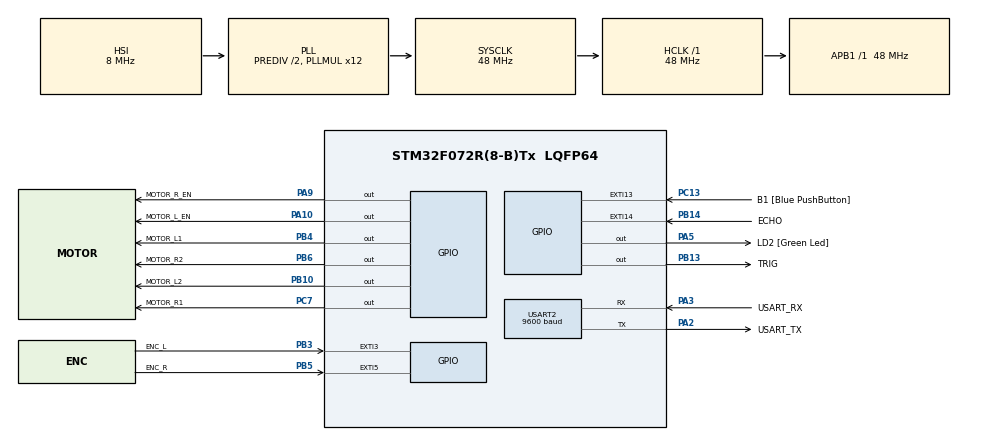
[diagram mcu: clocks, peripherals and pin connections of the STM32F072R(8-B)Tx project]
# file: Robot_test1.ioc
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FREERTOS.Mutexes01=UART_Mutex,Dynamic,NULL;distance_mutex,Dynamic,NULL
FREERTOS.Tasks01=defaultTask,0,128,StartDefaultTask,Default,NULL,Dynamic,NULL,NULL;motor_control,-3,128,Start_motor_control,Default,NULL,Dynamic,NULL,NULL;HCSR04,3,128,StartTaskHCSR04,Default,NULL,Dynamic,NULL,NULL
Mcu.Family=STM32F0
Mcu.Name=STM32F072R(8-B)Tx
Mcu.Package=LQFP64
NVIC.EXTI2_3_IRQn=true\:3\:0\:false\:false\:true\:true\:true
NVIC.EXTI4_15_IRQn=true\:3\:0\:false\:false\:true\:true\:true
NVIC.TIM1_BRK_UP_TRG_COM_IRQn=true\:0\:0\:false\:false\:true\:false\:true
NVIC.TIM2_IRQn=true\:3\:0\:false\:false\:true\:true\:true
NVIC.TimeBase=TIM1_BRK_UP_TRG_COM_IRQn
NVIC.TimeBaseIP=TIM1
NVIC.USART2_IRQn=true\:0\:0\:false\:false\:true\:false\:true
PA10.GPIO_Label=MOTOR_L_EN
PA10.Signal=GPIO_Output
PA13.GPIO_Label=TMS
PA13.Mode=Serial_Wire
PA13.Signal=SYS_SWDIO
PA14.GPIO_Label=TCK
PA14.Mode=Serial_Wire
PA14.Signal=SYS_SWCLK
PA2.GPIO_Label=USART_TX
PA2.GPIO_Mode=GPIO_MODE_AF_PP
PA2.GPIO_PuPd=GPIO_NOPULL
PA2.GPIO_Speed=GPIO_SPEED_FREQ_LOW
PA2.Mode=Asynchronous
PA2.Signal=USART2_TX
PA3.GPIO_Label=USART_RX
PA3.GPIO_Mode=GPIO_MODE_AF_PP
PA3.GPIO_PuPd=GPIO_NOPULL
PA3.GPIO_Speed=GPIO_SPEED_FREQ_LOW
PA3.Mode=Asynchronous
PA3.Signal=USART2_RX
PA5.GPIO_Label=LD2 [Green Led]
PA5.GPIO_Mode=GPIO_MODE_OUTPUT_PP
PA5.GPIO_PuPd=GPIO_NOPULL
PA5.GPIO_Speed=GPIO_SPEED_FREQ_LOW
PA5.Signal=GPIO_Output
PA9.GPIO_Label=MOTOR_R_EN
PA9.Signal=GPIO_Output
PB10.GPIO_Label=MOTOR_L2
PB10.Signal=GPIO_Output
PB13.GPIO_Label=TRIG
PB13.Signal=GPIO_Output
PB14.GPIO_Label=ECHO
PB14.GPIO_ModeDefaultEXTI=GPIO_MODE_IT_RISING_FALLING
PB14.Signal=GPXTI14
PB3.GPIO_Label=ENC_L
PB3.GPIO_ModeDefaultEXTI=GPIO_MODE_IT_RISING_FALLING
PB3.Signal=GPXTI3
PB4.GPIO_Label=MOTOR_L1
PB4.Signal=GPIO_Output
PB5.GPIO_Label=ENC_R
PB5.GPIO_ModeDefaultEXTI=GPIO_MODE_IT_RISING_FALLING
PB5.Signal=GPXTI5
PB6.GPIO_Label=MOTOR_R2
PB6.Signal=GPIO_Output
PC13.GPIO_Label=B1 [Blue PushButton]
PC13.GPIO_ModeDefaultEXTI=GPIO_MODE_IT_FALLING
PC13.Signal=GPXTI13
PC7.GPIO_Label=MOTOR_R1
PC7.Signal=GPIO_Output
ProjectManager.HeapSize=0x200
ProjectManager.StackSize=0x400
ProjectManager.TargetToolchain=MDK-ARM V5
RCC.AHBFreq_Value=48000000
RCC.APB1Freq_Value=48000000
RCC.APB1TimFreq_Value=48000000
RCC.FLatency-AdvancedSettings=FLASH_LATENCY_1
RCC.HCLKFreq_Value=48000000
RCC.PLLDivider=RCC_PREDIV_DIV2
RCC.PLLMUL=RCC_PLL_MUL12
RCC.SYSCLKFreq_VALUE=48000000
RCC.SYSCLKSource=RCC_SYSCLKSOURCE_PLLCLK
TIM2.Channel-Output\ Compare1\ No\ Output=TIM_CHANNEL_1
TIM2.Period=4294967295
TIM2.Prescaler=8
TIM2.Pulse-Output\ Compare1\ No\ Output=61
USART2.BaudRate=9600
USART2.VirtualMode-Asynchronous=VM_ASYNC
USART2.WordLength=WORDLENGTH_8B
VP_FREERTOS_VS_ENABLE.Mode=Enabled
VP_SYS_VS_tim1.Mode=TIM1
VP_TIM2_VS_ClockSourceINT.Mode=Internal
VP_TIM2_VS_no_output1.Mode=Output Compare1 No Output
board=NUCLEO-F072RB

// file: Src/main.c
/**
  ******************************************************************************
  * @file           : main.c
  * @brief          : Main program body
  ******************************************************************************
  * This notice applies to any and all portions of this file
  * that are not between comment pairs USER CODE BEGIN and
  * USER CODE END. Other portions of this file, whether
  * inserted by the user or by software development tools
  * are owned by their respective copyright owners.
  *
  * Copyright (c) 2018 STMicroelectronics International N.V.
  * All rights reserved.
  *
  * Redistribution and use in source and binary forms, with or without
  * modification, are permitted, provided that the following conditions are met:
  *
  * 1. Redistribution of source code must retain the above copyright notice,
  *    this list of conditions and the following disclaimer.
  * 2. Redistributions in binary form must reproduce the above copyright notice,
  *    this list of conditions and the following disclaimer in the documentation
  *    and/or other materials provided with the distribution.
  * 3. Neither the name of STMicroelectronics nor the names of other
  *    contributors to this software may be used to endorse or promote products
  *    derived from this software without specific written permission.
  * 4. This software, including modifications and/or derivative works of this
  *    software, must execute solely and exclusively on microcontroller or
  *    microprocessor devices manufactured by or for STMicroelectronics.
  * 5. Redistribution and use of this software other than as permitted under
  *    this license is void and will automatically terminate your rights under
  *    this license.
  *
  * THIS SOFTWARE IS PROVIDED BY STMICROELECTRONICS AND CONTRIBUTORS "AS IS"
  * AND ANY EXPRESS, IMPLIED OR STATUTORY WARRANTIES, INCLUDING, BUT NOT
  * LIMITED TO, THE IMPLIED WARRANTIES OF MERCHANTABILITY, FITNESS FOR A
  * PARTICULAR PURPOSE AND NON-INFRINGEMENT OF THIRD PARTY INTELLECTUAL PROPERTY
  * RIGHTS ARE DISCLAIMED TO THE FULLEST EXTENT PERMITTED BY LAW. IN NO EVENT
  * SHALL STMICROELECTRONICS OR CONTRIBUTORS BE LIABLE FOR ANY DIRECT, INDIRECT,
  * INCIDENTAL, SPECIAL, EXEMPLARY, OR CONSEQUENTIAL DAMAGES (INCLUDING, BUT NOT
  * LIMITED TO, PROCUREMENT OF SUBSTITUTE GOODS OR SERVICES; LOSS OF USE, DATA,
  * OR PROFITS; OR BUSINESS INTERRUPTION) HOWEVER CAUSED AND ON ANY THEORY OF
  * LIABILITY, WHETHER IN CONTRACT, STRICT LIABILITY, OR TORT (INCLUDING
  * NEGLIGENCE OR OTHERWISE) ARISING IN ANY WAY OUT OF THE USE OF THIS SOFTWARE,
  * EVEN IF ADVISED OF THE POSSIBILITY OF SUCH DAMAGE.
  *
  ******************************************************************************
  */
#include "main.h"
#include "stm32f0xx_hal.h"
#include "cmsis_os.h"

/* USER CODE BEGIN Includes */
#include <stdlib.h>
#include <string.h>
#include <stdio.h>
#include "robot_map.h"

#define measure_and_set 1
#define	go_forward 2
#define	forward_moving 3
#define turn_normal_R 4
#define	normal_turning 5
#define	turn_avoid_L 6
/* USER CODE END Includes */

TIM_HandleTypeDef htim2;

UART_HandleTypeDef huart2;

osThreadId emergencyHandle;
osThreadId motor_controlHandle;
osThreadId HCSR04Handle;
osMutexId UART_MutexHandle;
osMutexId distance_mutexHandle;

/* USER CODE BEGIN PV */
/* Private variables ---------------------------------------------------------*/

//PAPUT
char transmitBuffer[32];
uint8_t uart_in[1];
uint8_t enc_L_EN =0;
uint8_t enc_R_EN =0;
uint8_t enc_L_CNT =0;
uint8_t enc_R_CNT =0;
uint32_t i =0;
uint8_t ticks;
uint8_t is_moving = 0;
uint8_t snake_cnt = 0;
uint8_t snake_to_do = 1;
uint8_t corner_cnt = 0;

void go_Forward (void);
void go_TurnLeft (void);
void go_TurnRight (void);

uint8_t SM_state = measure_and_set;

//ADAM
volatile uint32_t hcsr04_rising_edge;
volatile uint32_t hcsr04_falling_edge;
volatile uint8_t hcsr04_generate_trig = 0;
volatile uint8_t hcsr04_wait_for_rising_edge = 0;
volatile uint8_t hcsr04_wait_for_falling_edge = 0;
uint8_t emergency_brake = 0;

//JAREK
int* map = NULL;
int rows = 20;
int columns = 20;

uint16_t distance =100; //current distance to obstacle [cm], locked by mutex
uint16_t distance_temp;

BaseType_t xHigherPriorityTaskWoken;
/* USER CODE END PV */

void SystemClock_Config(void);
static void MX_GPIO_Init(void);
static void MX_USART2_UART_Init(void);
static void MX_TIM2_Init(void);
void Startemergency(void const * argument);
void Start_motor_control(void const * argument);
void StartTaskHCSR04(void const * argument);

/* USER CODE BEGIN PFP */
/* Private function prototypes -----------------------------------------------*/
//extern void initialise_monitor_handles(void);
void HAL_TIM_OC_DelayElapsedCallback(TIM_HandleTypeDef *htim) {

	if (htim->Instance == TIM2 && htim->Channel == HAL_TIM_ACTIVE_CHANNEL_1
			&& hcsr04_generate_trig == 1) {
		if (hcsr04_wait_for_falling_edge == 0) {
			__HAL_TIM_SET_COUNTER(htim, 0);
		}
		hcsr04_generate_trig = 0;
		HAL_GPIO_WritePin(TRIG_GPIO_Port, TRIG_Pin, GPIO_PIN_RESET);
		hcsr04_wait_for_rising_edge = 1;
		//printf("INTERRUPT\n");

	}
}

void HAL_GPIO_EXTI_Callback(uint16_t GPIO_Pin) {
	if (GPIO_Pin == ECHO_Pin) {
		if (HAL_GPIO_ReadPin(ECHO_GPIO_Port, ECHO_Pin) == 1
				&& hcsr04_wait_for_rising_edge) {
			//printf("1\n");
			hcsr04_rising_edge = __HAL_TIM_GET_COUNTER(&htim2);
			hcsr04_wait_for_rising_edge = 0;
			hcsr04_wait_for_falling_edge = 1;

		}
		if (HAL_GPIO_ReadPin(ECHO_GPIO_Port, ECHO_Pin) == 0
				&& hcsr04_wait_for_falling_edge) {
			//printf("0\n");
			hcsr04_falling_edge = __HAL_TIM_GET_COUNTER(&htim2);
			hcsr04_wait_for_falling_edge = 0;
			xHigherPriorityTaskWoken = pdFALSE;

			xTaskNotifyFromISR(HCSR04Handle, 0, eNoAction,
					&xHigherPriorityTaskWoken);
			portYIELD_FROM_ISR(xHigherPriorityTaskWoken);

			}pdFALSE;
		}
		if (GPIO_Pin == GPIO_PIN_3){
			if (enc_L_EN) {
				enc_L_CNT++;
			}
			if (enc_L_CNT>=ticks-1) {
						HAL_GPIO_WritePin(MOTOR_L_EN_GPIO_Port, MOTOR_L_EN_Pin, GPIO_PIN_RESET);
						is_moving ++;
						enc_L_EN=0;
						enc_L_CNT=0;

				}
			if (is_moving==3) is_moving=0;
		}
		if (GPIO_Pin == GPIO_PIN_5){
			if (enc_R_EN) {
				enc_R_CNT++;
			}
			if (enc_R_CNT>=ticks-1) {
						HAL_GPIO_WritePin(MOTOR_R_EN_GPIO_Port, MOTOR_R_EN_Pin, GPIO_PIN_RESET);
						is_moving ++;
						enc_R_EN=0;
						enc_R_CNT=0;

				}
				if (is_moving==3) is_moving=0;
		}
//			//printf("%d\n", res);

}
/* USER CODE END PFP */

int main(void)
{

  /* MCU Configuration----------------------------------------------------------*/

  /* Reset of all peripherals, Initializes the Flash interface and the Systick. */
  HAL_Init();

  /* Configure the system clock */
  SystemClock_Config();

  /* Initialize all configured peripherals */
  MX_GPIO_Init();
  MX_USART2_UART_Init();
  MX_TIM2_Init();
  /* USER CODE BEGIN 2 */
  //PAPUT
  __HAL_UART_ENABLE_IT(&huart2,UART_IT_RXNE);

  //ADAM
  //initialise_monitor_handles();
  	//printf("Hello\n");
  	HAL_TIM_OC_Start_IT(&htim2, TIM_CHANNEL_1);

	//JAREK

	int mapsize = calcAdjustedSize(rows, columns);
//map = (int*)calloc(mapsize, sizeof(int));
	map = allocateMap(rows, columns);
  /* USER CODE END 2 */

  /* Create the mutex(es) */
  /* definition and creation of UART_Mutex */
  osMutexDef(UART_Mutex);
  UART_MutexHandle = osMutexCreate(osMutex(UART_Mutex));

  /* definition and creation of distance_mutex */
  osMutexDef(distance_mutex);
  distance_mutexHandle = osMutexCreate(osMutex(distance_mutex));

  /* Create the thread(s) */
  /* definition and creation of emergency */
  osThreadDef(emergency, Startemergency, osPriorityRealtime, 0, 128);
  emergencyHandle = osThreadCreate(osThread(emergency), NULL);

  /* definition and creation of motor_control */
  osThreadDef(motor_control, Start_motor_control, osPriorityIdle, 0, 128);
  motor_controlHandle = osThreadCreate(osThread(motor_control), NULL);

  /* definition and creation of HCSR04 */
  osThreadDef(HCSR04, StartTaskHCSR04, osPriorityHigh, 0, 128);
  HCSR04Handle = osThreadCreate(osThread(HCSR04), NULL);

  /* Start scheduler */
  osKernelStart();

  /* We should never get here as control is now taken by the scheduler */

  /* Infinite loop */
  while (1)
  {

  }

}

void SystemClock_Config(void)
{

  RCC_OscInitTypeDef RCC_OscInitStruct;
  RCC_ClkInitTypeDef RCC_ClkInitStruct;
  RCC_PeriphCLKInitTypeDef PeriphClkInit;

    /**Initializes the CPU, AHB and APB busses clocks
    */
  RCC_OscInitStruct.OscillatorType = RCC_OSCILLATORTYPE_HSI;
  RCC_OscInitStruct.HSIState = RCC_HSI_ON;
  RCC_OscInitStruct.HSICalibrationValue = 16;
  RCC_OscInitStruct.PLL.PLLState = RCC_PLL_ON;
  RCC_OscInitStruct.PLL.PLLSource = RCC_PLLSOURCE_HSI;
  RCC_OscInitStruct.PLL.PLLMUL = RCC_PLL_MUL12;
  RCC_OscInitStruct.PLL.PREDIV = RCC_PREDIV_DIV2;
  if (HAL_RCC_OscConfig(&RCC_OscInitStruct) != HAL_OK)
  {
    _Error_Handler(__FILE__, __LINE__);
  }

    /**Initializes the CPU, AHB and APB busses clocks
    */
  RCC_ClkInitStruct.ClockType = RCC_CLOCKTYPE_HCLK|RCC_CLOCKTYPE_SYSCLK
                              |RCC_CLOCKTYPE_PCLK1;
  RCC_ClkInitStruct.SYSCLKSource = RCC_SYSCLKSOURCE_PLLCLK;
  RCC_ClkInitStruct.AHBCLKDivider = RCC_SYSCLK_DIV1;
  RCC_ClkInitStruct.APB1CLKDivider = RCC_HCLK_DIV1;

  if (HAL_RCC_ClockConfig(&RCC_ClkInitStruct, FLASH_LATENCY_1) != HAL_OK)
  {
    _Error_Handler(__FILE__, __LINE__);
  }

  PeriphClkInit.PeriphClockSelection = RCC_PERIPHCLK_USART2;
  PeriphClkInit.Usart2ClockSelection = RCC_USART2CLKSOURCE_PCLK1;
  if (HAL_RCCEx_PeriphCLKConfig(&PeriphClkInit) != HAL_OK)
  {
    _Error_Handler(__FILE__, __LINE__);
  }

    /**Configure the Systick interrupt time
    */
  HAL_SYSTICK_Config(HAL_RCC_GetHCLKFreq()/1000);

    /**Configure the Systick
    */
  HAL_SYSTICK_CLKSourceConfig(SYSTICK_CLKSOURCE_HCLK);

  /* SysTick_IRQn interrupt configuration */
  HAL_NVIC_SetPriority(SysTick_IRQn, 3, 0);
}

/* TIM2 init function */
static void MX_TIM2_Init(void)
{

  TIM_ClockConfigTypeDef sClockSourceConfig;
  TIM_MasterConfigTypeDef sMasterConfig;
  TIM_OC_InitTypeDef sConfigOC;

  htim2.Instance = TIM2;
  htim2.Init.Prescaler = 8;
  htim2.Init.CounterMode = TIM_COUNTERMODE_UP;
  htim2.Init.Period = 4294967295;
  htim2.Init.ClockDivision = TIM_CLOCKDIVISION_DIV1;
  htim2.Init.AutoReloadPreload = TIM_AUTORELOAD_PRELOAD_DISABLE;
  if (HAL_TIM_Base_Init(&htim2) != HAL_OK)
  {
    _Error_Handler(__FILE__, __LINE__);
  }

  sClockSourceConfig.ClockSource = TIM_CLOCKSOURCE_INTERNAL;
  if (HAL_TIM_ConfigClockSource(&htim2, &sClockSourceConfig) != HAL_OK)
  {
    _Error_Handler(__FILE__, __LINE__);
  }

  if (HAL_TIM_OC_Init(&htim2) != HAL_OK)
  {
    _Error_Handler(__FILE__, __LINE__);
  }

  sMasterConfig.MasterOutputTrigger = TIM_TRGO_RESET;
  sMasterConfig.MasterSlaveMode = TIM_MASTERSLAVEMODE_DISABLE;
  if (HAL_TIMEx_MasterConfigSynchronization(&htim2, &sMasterConfig) != HAL_OK)
  {
    _Error_Handler(__FILE__, __LINE__);
  }

  sConfigOC.OCMode = TIM_OCMODE_TIMING;
  sConfigOC.Pulse = 61;
  sConfigOC.OCPolarity = TIM_OCPOLARITY_HIGH;
  sConfigOC.OCFastMode = TIM_OCFAST_DISABLE;
  if (HAL_TIM_OC_ConfigChannel(&htim2, &sConfigOC, TIM_CHANNEL_1) != HAL_OK)
  {
    _Error_Handler(__FILE__, __LINE__);
  }

}

/* USART2 init function */
static void MX_USART2_UART_Init(void)
{

  huart2.Instance = USART2;
  huart2.Init.BaudRate = 9600;
  huart2.Init.WordLength = UART_WORDLENGTH_8B;
  huart2.Init.StopBits = UART_STOPBITS_1;
  huart2.Init.Parity = UART_PARITY_NONE;
  huart2.Init.Mode = UART_MODE_TX_RX;
  huart2.Init.HwFlowCtl = UART_HWCONTROL_NONE;
  huart2.Init.OverSampling = UART_OVERSAMPLING_16;
  huart2.Init.OneBitSampling = UART_ONE_BIT_SAMPLE_DISABLE;
  huart2.AdvancedInit.AdvFeatureInit = UART_ADVFEATURE_NO_INIT;
  if (HAL_UART_Init(&huart2) != HAL_OK)
  {
    _Error_Handler(__FILE__, __LINE__);
  }

}

/** Configure pins as
        * Analog
        * Input
        * Output
        * EVENT_OUT
        * EXTI
*/
static void MX_GPIO_Init(void)
{

  GPIO_InitTypeDef GPIO_InitStruct;

  /* GPIO Ports Clock Enable */
  __HAL_RCC_GPIOC_CLK_ENABLE();
  __HAL_RCC_GPIOA_CLK_ENABLE();
  __HAL_RCC_GPIOB_CLK_ENABLE();

  /*Configure GPIO pin Output Level */
  HAL_GPIO_WritePin(GPIOA, LD2_Pin|MOTOR_R_EN_Pin|MOTOR_L_EN_Pin, GPIO_PIN_RESET);

  /*Configure GPIO pin Output Level */
  HAL_GPIO_WritePin(GPIOB, MOTOR_L2_Pin|TRIG_Pin|MOTOR_L1_Pin|MOTOR_R2_Pin, GPIO_PIN_RESET);

  /*Configure GPIO pin Output Level */
  HAL_GPIO_WritePin(MOTOR_R1_GPIO_Port, MOTOR_R1_Pin, GPIO_PIN_RESET);

  /*Configure GPIO pin : B1_Pin */
  GPIO_InitStruct.Pin = B1_Pin;
  GPIO_InitStruct.Mode = GPIO_MODE_IT_FALLING;
  GPIO_InitStruct.Pull = GPIO_NOPULL;
  HAL_GPIO_Init(B1_GPIO_Port, &GPIO_InitStruct);

  /*Configure GPIO pins : LD2_Pin MOTOR_R_EN_Pin MOTOR_L_EN_Pin */
  GPIO_InitStruct.Pin = LD2_Pin|MOTOR_R_EN_Pin|MOTOR_L_EN_Pin;
  GPIO_InitStruct.Mode = GPIO_MODE_OUTPUT_PP;
  GPIO_InitStruct.Pull = GPIO_NOPULL;
  GPIO_InitStruct.Speed = GPIO_SPEED_FREQ_LOW;
  HAL_GPIO_Init(GPIOA, &GPIO_InitStruct);

  /*Configure GPIO pins : MOTOR_L2_Pin TRIG_Pin MOTOR_L1_Pin MOTOR_R2_Pin */
  GPIO_InitStruct.Pin = MOTOR_L2_Pin|TRIG_Pin|MOTOR_L1_Pin|MOTOR_R2_Pin;
  GPIO_InitStruct.Mode = GPIO_MODE_OUTPUT_PP;
  GPIO_InitStruct.Pull = GPIO_NOPULL;
  GPIO_InitStruct.Speed = GPIO_SPEED_FREQ_LOW;
  HAL_GPIO_Init(GPIOB, &GPIO_InitStruct);

  /*Configure GPIO pins : ECHO_Pin ENC_L_Pin ENC_R_Pin */
  GPIO_InitStruct.Pin = ECHO_Pin|ENC_L_Pin|ENC_R_Pin;
  GPIO_InitStruct.Mode = GPIO_MODE_IT_RISING_FALLING;
  GPIO_InitStruct.Pull = GPIO_NOPULL;
  HAL_GPIO_Init(GPIOB, &GPIO_InitStruct);

  /*Configure GPIO pin : MOTOR_R1_Pin */
  GPIO_InitStruct.Pin = MOTOR_R1_Pin;
  GPIO_InitStruct.Mode = GPIO_MODE_OUTPUT_PP;
  GPIO_InitStruct.Pull = GPIO_NOPULL;
  GPIO_InitStruct.Speed = GPIO_SPEED_FREQ_LOW;
  HAL_GPIO_Init(MOTOR_R1_GPIO_Port, &GPIO_InitStruct);

  /* EXTI interrupt init*/
  HAL_NVIC_SetPriority(EXTI2_3_IRQn, 3, 0);
  HAL_NVIC_EnableIRQ(EXTI2_3_IRQn);

  HAL_NVIC_SetPriority(EXTI4_15_IRQn, 3, 0);
  HAL_NVIC_EnableIRQ(EXTI4_15_IRQn);

}

/* USER CODE BEGIN 4 */

void go_Forward (void){

	ticks=50;

		enc_L_CNT=0;
		enc_R_CNT=0;

		HAL_GPIO_WritePin(MOTOR_R1_GPIO_Port, MOTOR_R1_Pin, GPIO_PIN_SET);
		HAL_GPIO_WritePin(MOTOR_R2_GPIO_Port, MOTOR_R2_Pin, GPIO_PIN_RESET);

		HAL_GPIO_WritePin(MOTOR_L1_GPIO_Port, MOTOR_L1_Pin, GPIO_PIN_SET);
		HAL_GPIO_WritePin(MOTOR_L2_GPIO_Port, MOTOR_L2_Pin, GPIO_PIN_RESET);
		enc_L_EN=1;
		enc_R_EN=1;
	if (distance>25){
		is_moving = 1;

		HAL_GPIO_WritePin(MOTOR_L_EN_GPIO_Port, MOTOR_L_EN_Pin, GPIO_PIN_SET);
		HAL_GPIO_WritePin(MOTOR_R_EN_GPIO_Port, MOTOR_R_EN_Pin, GPIO_PIN_SET);
	}

}
void go_TurnLeft (void){

		ticks=18;
		enc_L_CNT=0;
		enc_R_CNT=0;

		HAL_GPIO_WritePin(GPIOC, MOTOR_R1_Pin, GPIO_PIN_SET);
		HAL_GPIO_WritePin(GPIOB, MOTOR_R2_Pin, GPIO_PIN_RESET);

		HAL_GPIO_WritePin(GPIOB, MOTOR_L1_Pin, GPIO_PIN_RESET);
		HAL_GPIO_WritePin(GPIOB, MOTOR_L2_Pin, GPIO_PIN_SET);

		enc_L_EN=1;
		enc_R_EN=1;

		is_moving = 1;

		HAL_GPIO_WritePin(MOTOR_L_EN_GPIO_Port, MOTOR_L_EN_Pin, GPIO_PIN_SET);
		HAL_GPIO_WritePin(MOTOR_R_EN_GPIO_Port, MOTOR_R_EN_Pin, GPIO_PIN_SET);

}
void go_TurnRight (void){

		ticks=18;
		enc_L_CNT=0;
		enc_R_CNT=0;

		HAL_GPIO_WritePin(GPIOC, MOTOR_R1_Pin, GPIO_PIN_RESET);
		HAL_GPIO_WritePin(GPIOB, MOTOR_R2_Pin, GPIO_PIN_SET);

		HAL_GPIO_WritePin(GPIOB, MOTOR_L1_Pin, GPIO_PIN_SET);
		HAL_GPIO_WritePin(GPIOB, MOTOR_L2_Pin, GPIO_PIN_RESET);

		enc_L_EN=1;
		enc_R_EN=1;

		is_moving = 1;

	  HAL_GPIO_WritePin(MOTOR_L_EN_GPIO_Port, MOTOR_L_EN_Pin, GPIO_PIN_SET);
		HAL_GPIO_WritePin(MOTOR_R_EN_GPIO_Port, MOTOR_R_EN_Pin, GPIO_PIN_SET);

}

/* USER CODE END 4 */

/* Startemergency function */
void Startemergency(void const * argument)
{

  /* USER CODE BEGIN 5 */
  /* Infinite loop */

	TickType_t xLastWakeTime;
	const TickType_t xFrequency = 100;

    // Initialise the xLastWakeTime variable with the current time.
    xLastWakeTime = xTaskGetTickCount();
  for(;;)
  {
	  // Wait for the next cycle.
	  vTaskDelayUntil( &xLastWakeTime, xFrequency );
		if (distance>25) {
			if (enc_L_EN) HAL_GPIO_WritePin(MOTOR_L_EN_GPIO_Port, MOTOR_L_EN_Pin, GPIO_PIN_SET);
			if (enc_R_EN) HAL_GPIO_WritePin(MOTOR_R_EN_GPIO_Port, MOTOR_R_EN_Pin, GPIO_PIN_SET);
			emergency_brake = 0;
		}
	  if((distance < 20)&& (!emergency_brake))
	  {
							/*
			xSemaphoreTake(UART_MutexHandle, portMAX_DELAY);
			//	memset(transmitBuffer,0,strlen(transmitBuffer));
				sprintf((char*)transmitBuffer,"%u cm\r\n",distance);
	  		HAL_UART_Transmit_IT(&huart2,(uint8_t*)transmitBuffer, strlen(transmitBuffer));
					xSemaphoreGive(UART_MutexHandle);*/
		  HAL_GPIO_WritePin(MOTOR_L_EN_GPIO_Port, MOTOR_L_EN_Pin, GPIO_PIN_RESET);
		  HAL_GPIO_WritePin(MOTOR_R_EN_GPIO_Port, MOTOR_R_EN_Pin, GPIO_PIN_RESET);
		  emergency_brake = 1;
	  }

    //osDelay(10);
  }
  /* USER CODE END 5 */
}

/* Start_motor_control function */
void Start_motor_control(void const * argument)
{
  /* USER CODE BEGIN Start_motor_control */
  /* Infinite loop */
  for(;;)
  {

			switch(SM_state){

				case measure_and_set:

						if (distance>30) {
							setCellBlockedAtDistance(map, rows, columns, distance/30);
							SM_state = go_forward;
						}
				break;

				case go_forward:

							if (isNextCellFree(map, rows, columns)) {
								//go_Forward();
								//SM_state = forward_moving;
						}
							go_Forward();
							SM_state = forward_moving;
				break;

				case forward_moving:

						if(!is_moving){
							moveForward(map, rows, columns);
							snake_cnt++;
							if (snake_cnt<snake_to_do){
								SM_state = go_forward;
								break;
							}	else snake_cnt =0;
							if (corner_cnt) {
								corner_cnt =0;
								snake_to_do++;
							}
							SM_state = turn_normal_R;

						}

				break;

				case turn_normal_R:

					go_TurnRight();
					SM_state = normal_turning;
				break;

				case normal_turning:

							if(!is_moving){
								turnRight();
								corner_cnt++;
								SM_state = measure_and_set;
						}
				break;

				case turn_avoid_L:

				break;

			}

	xSemaphoreTake(UART_MutexHandle, portMAX_DELAY);
			//	memset(transmitBuffer,0,strlen(transmitBuffer));
				sprintf((char*)transmitBuffer,"%u\r\n",SM_state);
	  		HAL_UART_Transmit_IT(&huart2,(uint8_t*)transmitBuffer, strlen(transmitBuffer));
					xSemaphoreGive(UART_MutexHandle);

		/*
				i++;
				if (i==150){
				go_Forward();

				}else if (i==300){
				go_TurnLeft();

				}
				else if (i==450){
				go_TurnRight();
				i=0;
				}
	      osDelay(10);
		*/
  }
  /* USER CODE END Start_motor_control */
}

/* StartTaskHCSR04 function */
void StartTaskHCSR04(void const * argument)
{
  /* USER CODE BEGIN StartTaskHCSR04 */
	//printf("HCSR04 task started\n");
		BaseType_t xResult;

		TickType_t xLastWakeTime;
		const TickType_t xFrequency = 100;

		 //Initialise the xLastWakeTime variable with the current time.
		 xLastWakeTime = xTaskGetTickCount();

		/* Infinite loop */
		for (;;) {
			// Wait for the next cycle.
			 vTaskDelayUntil( &xLastWakeTime, xFrequency );

			if (hcsr04_generate_trig == 0) {
				hcsr04_generate_trig = 1;
				//htim2.Instance -> CNT = 0;
				__HAL_TIM_SET_COUNTER(&htim2, 0);
				HAL_GPIO_WritePin(TRIG_GPIO_Port, TRIG_Pin, GPIO_PIN_SET);
				xResult = xTaskNotifyWait(0x00, 0xff, NULL, pdMS_TO_TICKS(50));
				if (xResult == pdPASS) {
					//printf("Notification received\n");

					distance_temp = ((hcsr04_falling_edge - hcsr04_rising_edge)
														* 8 * 0.0208333333) / 58;

					if (distance_mutexHandle != NULL) {
						/* See if we can obtain the semaphore.  If the semaphore is not
						 available wait 10 ticks to see if it becomes free. */
						if ( xSemaphoreTake(distance_mutexHandle,
								(TickType_t ) 10) == pdTRUE) {
							/* We were able to obtain the semaphore and can now access the
							 shared resource. */

							if (distance_temp<650) distance= distance_temp;
							//printf("Distance: %d\n", distance);

							/* We have finished accessing the shared resource.  Release the
							 semaphore. */
							xSemaphoreGive(distance_mutexHandle);
						} else {
							/* We could not obtain the semaphore and can therefore not access
							 the shared resource safely. */
						}
					}

				} else {
					//printf("Notification NOT received\n");

				}
			}

			//osDelay(100);
		}
  /* USER CODE END StartTaskHCSR04 */
}

void HAL_TIM_PeriodElapsedCallback(TIM_HandleTypeDef *htim)
{
  if (htim->Instance == TIM1) {
    HAL_IncTick();
  }
}

void _Error_Handler(char *file, int line)
{
  while(1)
  {
  }
}

/************************ (C) COPYRIGHT STMicroelectronics *****END OF FILE****/
